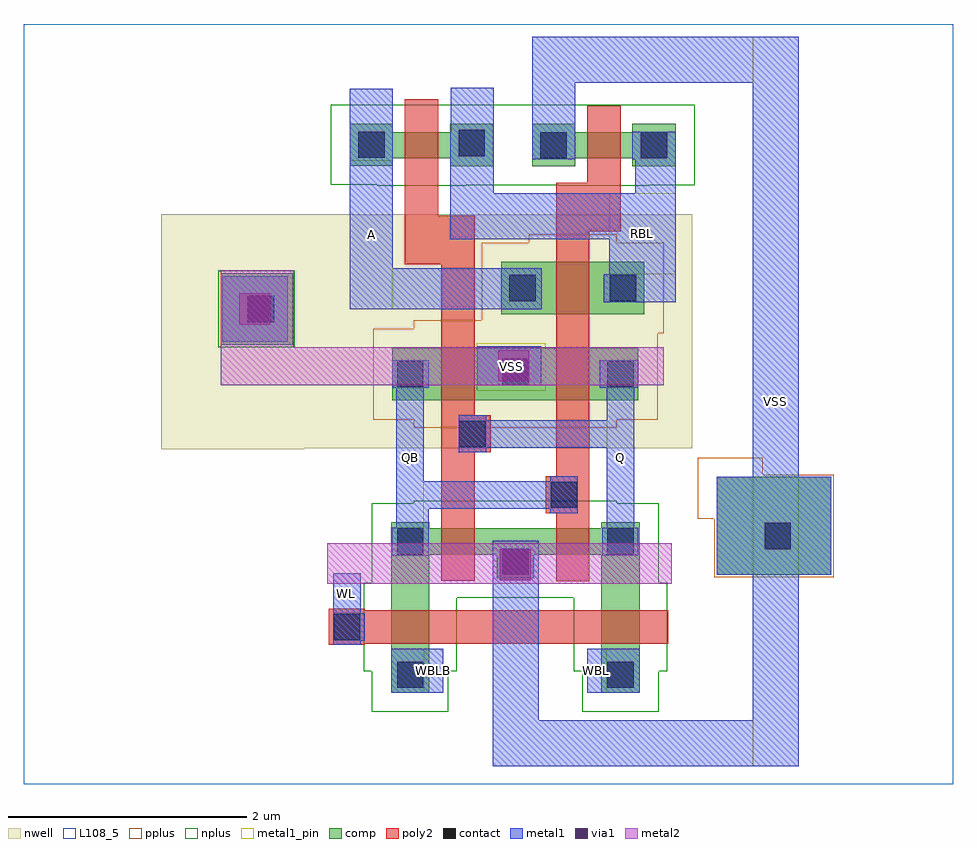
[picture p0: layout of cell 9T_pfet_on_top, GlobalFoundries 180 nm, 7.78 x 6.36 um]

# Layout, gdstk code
import gdstk
lib = gdstk.Library(unit=1e-6, precision=1e-09)
def R(c, l, rs):  # rectangles x0, y0, x1, y1
    for r in rs: c.add(gdstk.rectangle(r[:2], r[2:], *l))
nwell = (21, 0)
comp = (22, 0)
poly2 = (30, 0)
pplus = (31, 0)
nplus = (32, 0)
contact = (33, 0)
metal1 = (34, 0)
metal1_pin = (34, 10)
via1 = (35, 0)
metal2 = (36, 0)
L108_5 = (108, 5)

c_9t_pfet_on_top = lib.new_cell('9T_pfet_on_top')
R(c_9t_pfet_on_top, nwell, [(-2.11,-0.4,-0.91,-0.39), (-2.11,-0.39,2.335,1.57)])
R(c_9t_pfet_on_top, comp, [(-0.185,-2.435,0.135,-1.28), (1.575,-2.435,1.895,-1.28), (0.7,-1.48,1.01,-1.28), (2.54,-1.45,3.5,-0.63), (-0.185,-1.28,1.895,-1.06), (-0.185,-1.06,0.135,-1.01), (1.575,-1.06,1.895,-1.01), (-0.175,0.01,1.885,0.45), (-1.61,0.475,-1.01,1.075), (0.735,0.73,1.935,1.17), (0.31,1.97,0.67,2.035), (0.995,1.97,1.355,2.035), (1.835,1.97,2.195,2.035), (-0.53,1.975,-0.17,2.035), (-0.53,2.035,0.67,2.255), (0.995,2.035,2.195,2.255), (-0.53,2.255,-0.17,2.325), (0.31,2.255,0.67,2.325), (0.995,2.255,1.355,2.325), (1.835,2.255,2.195,2.325)])
R(c_9t_pfet_on_top, poly2, [(-0.705,-2.035,-0.405,-2.025), (-0.705,-2.025,2.135,-1.745), (-0.705,-1.745,-0.405,-1.735), (1.195,-1.505,1.475,-0.935), (0.235,-1.5,0.515,-0.425), (1.11,-0.935,1.475,-0.625), (1.195,-0.625,1.475,1.425), (0.235,-0.425,0.65,-0.115), (0.235,-0.115,0.515,1.15), (-0.07,1.15,0.515,1.555), (1.195,1.425,1.735,1.83), (-0.07,1.555,0.21,2.53), (1.455,1.83,1.735,2.475)])
R(c_9t_pfet_on_top, pplus, [(2.52,-1.47,3.52,-0.98), (2.38,-0.98,3.52,-0.61), (2.38,-0.61,2.925,-0.47), (0.005,-0.22,1.705,-0.15), (-0.335,-0.15,2.045,0.57), (-0.335,0.57,2.095,0.61), (0.005,0.61,2.095,0.68), (0.575,0.68,2.095,1.33), (0.965,1.33,1.705,1.4)])
R(c_9t_pfet_on_top, nplus, [(-0.345,-2.595,0.295,-2.255), (1.415,-2.595,2.055,-2.255), (-0.415,-2.255,0.365,-1.64), (1.345,-2.255,2.125,-1.64), (-0.415,-1.64,2.125,-1.515), (-0.345,-1.515,2.055,-0.85), (0.005,-0.85,1.705,-0.83), (-1.63,0.455,-0.99,1.095), (-0.3,1.805,0.44,1.81), (1.225,1.805,1.965,1.81), (-0.3,1.81,2.355,1.815), (-0.69,1.815,2.355,2.485)])
R(c_9t_pfet_on_top, contact, [(-0.135,-2.395,0.085,-2.175), (1.625,-2.395,1.845,-2.175), (-0.665,-1.995,-0.445,-1.775), (0.745,-1.45,0.965,-1.23), (-0.135,-1.28,0.085,-1.06), (1.625,-1.28,1.845,-1.06), (2.94,-1.235,3.16,-1.015), (1.15,-0.89,1.37,-0.67), (0.385,-0.38,0.605,-0.16), (-0.135,0.12,0.085,0.34), (1.625,0.12,1.845,0.34), (0.745,0.14,0.965,0.36), (-1.385,0.665,-1.165,0.885), (0.805,0.84,1.025,1.06), (1.645,0.84,1.865,1.06), (1.065,2.035,1.285,2.255), (1.905,2.035,2.125,2.255), (-0.46,2.04,-0.24,2.26), (0.38,2.055,0.6,2.275)])
R(c_9t_pfet_on_top, metal1, [(0.665,-3.05,3.225,-2.665), (0.665,-2.665,1.05,-1.165), (2.84,-2.665,3.225,-1.45), (-0.185,-2.435,0.25,-2.07), (1.455,-2.435,1.895,-2.07), (-0.67,-2.035,-0.44,-2), (-0.67,-2,-0.405,-1.77), (-0.67,-1.77,-0.44,-1.435), (2.54,-1.45,3.5,-0.63), (-0.18,-1.29,0.13,-1.055), (1.58,-1.285,1.885,-1.055), (-0.14,-1.055,0.13,-0.895), (1.62,-1.055,1.85,-0.385), (1.145,-0.935,1.375,-0.895), (-0.14,-0.895,1.375,-0.665), (-0.14,-0.665,0.09,0.115), (1.145,-0.665,1.375,-0.625), (2.84,-0.63,3.225,2.67), (0.38,-0.425,0.61,-0.385), (0.38,-0.385,1.85,-0.155), (0.38,-0.155,0.61,-0.115), (1.62,-0.155,1.85,0.115), (-0.175,0.115,0.13,0.345), (1.56,0.115,1.885,0.345), (0.535,0.135,1.07,0.465), (-1.6,0.5,-1.05,1.05), (-0.53,0.775,1.075,1.115), (1.595,0.83,2.195,1.065), (1.64,1.065,2.195,1.36), (-0.53,1.115,-0.17,2.62), (0.31,1.36,2.195,1.745), (0.31,1.745,0.675,2.255), (1.86,1.745,2.195,2.03), (0.995,2.03,1.355,2.67), (1.835,2.03,2.195,2.26), (0.315,2.255,0.675,2.625), (0.995,2.67,3.225,3.055)])
R(c_9t_pfet_on_top, metal1_pin, [(2.84,-3.05,3.225,3.055), (0.09,-2.435,0.25,-2.07), (1.455,-2.435,1.62,-2.07), (-0.67,-1.77,-0.44,-1.435), (-0.14,-1.055,0.09,0.115), (1.62,-1.055,1.85,0.115), (0.53,0.09,1.11,0.49), (-0.53,0.775,-0.17,2.02), (1.64,1.065,2.195,1.745)])
R(c_9t_pfet_on_top, via1, [(0.725,-1.495,0.985,-1.235), (0.71,0.17,0.97,0.43), (-1.455,0.645,-1.195,0.905)])
R(c_9t_pfet_on_top, metal2, [(-0.72,-1.525,2.165,-1.185), (-1.61,0.135,2.095,0.455), (-1.61,0.455,-1,1.1)])
R(c_9t_pfet_on_top, L108_5, [(-3.26,-3.2,4.52,3.16)])
c_9t_pfet_on_top.add(gdstk.Label('VSS', (3.032,0.002), layer=34, texttype=10))
c_9t_pfet_on_top.add(gdstk.Label('WL', (-0.555,-1.602), layer=34, texttype=10))
c_9t_pfet_on_top.add(gdstk.Label('WBL', (1.537,-2.252), layer=34, texttype=10))
c_9t_pfet_on_top.add(gdstk.Label('WBLB', (0.17,-2.252), layer=34, texttype=10))
c_9t_pfet_on_top.add(gdstk.Label('Q', (1.735,-0.47), layer=34, texttype=10))
c_9t_pfet_on_top.add(gdstk.Label('QB', (-0.025,-0.47), layer=34, texttype=10))
c_9t_pfet_on_top.add(gdstk.Label('RBL', (1.917,1.405), layer=34, texttype=10))
c_9t_pfet_on_top.add(gdstk.Label('A', (-0.35,1.397), layer=34, texttype=10))
c_9t_pfet_on_top.add(gdstk.Label('VSS', (0.82,0.29), layer=34, texttype=10))

lib.write_gds('9T_pfet_on_top.gds')
